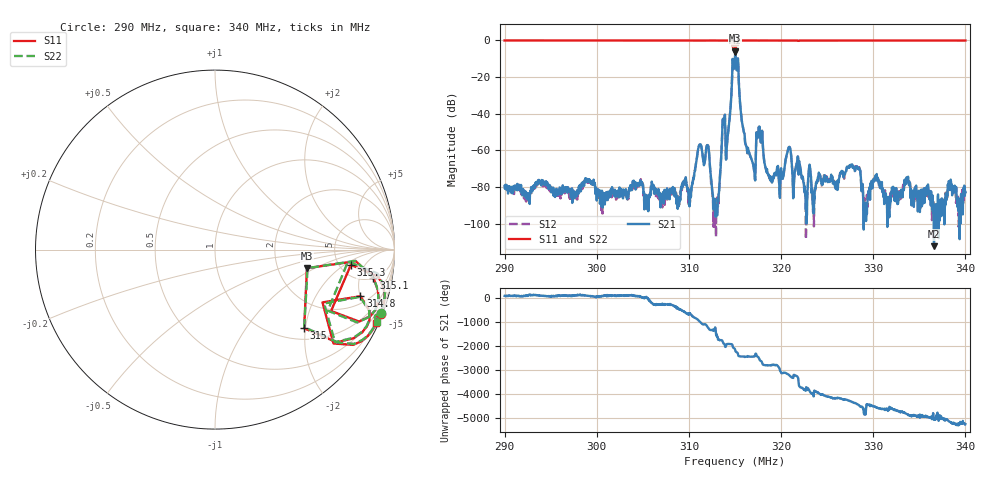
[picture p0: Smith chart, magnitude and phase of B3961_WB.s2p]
! Matrix data file written by TouchstoneData, EPCOS AG
! FILENAME: "B3961_WB.s2p"
! COMMENT: "(LU38B_MB.s2p) EPCOS AG 02.07.2010 10:45:05"
! INFO: nport=2, nfreq=1601
! DATE: "Wed Feb  1 14:30:13 2012"
! USER: "Wilfried Schott"
! port | pin | signal
!  1  |  1  |  IN
!  2  |  3  |  OUT
# MHZ S MA R 50
! freq  magS11 angS11  magS21 angS21  magS12 angS12  magS22 angS22
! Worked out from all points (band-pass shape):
!   1601 points, 290 MHz to 340 MHz, reference 50 ohm
!   highest |S21| = -6.46 dB at 315 MHz (marker M1); lowest = -112.2 dB at 336.6 MHz (marker M2)
!   |S21| within 3 dB of the highest: 314.9815 MHz to 315.0652 MHz (83.65 kHz wide, 0.0266 % of centre)
!   lowest |S11| = -5.6 dB at 315 MHz (marker M3), VSWR 3.19, Z = 146 - j41.7 ohm
!   |S11| at or under -10 dB: nowhere
!   |S22| runs from -5.6 to -0.1 dB; largest |S21 - S12| = 0.0043
!   S11 on the Smith chart (normalised r, x): 290 MHz: 0.12, -5.37; 314.8 MHz: 2.66, -5.02; 315 MHz: 1.26, -1.97; 315.1 MHz: 5.00, -8.16; 315.3 MHz: 6.34, -2.57; 340 MHz: 0.14, -4.60
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290  0.9918 -21.1  0.0001079 70.0  9.852e-05 69.1  0.989 -20.8
298.3438  0.9911 -21.8  0.0001004 102.8  0.0001051 103.0  0.9898 -21.5
306.6875  0.9904 -22.5  8.905e-05 66.5  4.635e-05 74.9  0.9891 -22.2
310.125  0.9895 -23.0  7.42e-05 66.7  3.863e-05 42.5  0.9876 -22.7
311.1875  0.9864 -23.1  0.001438 77.1  0.001406 77.1  0.985 -22.8
313.0938  0.9897 -23.9  2.256e-05 -178.3  2.823e-05 174.3  0.9884 -23.5
313.7188  0.9866 -24.3  0.006007 -94.0  0.00599 -94.1  0.9853 -24.0
314.25  0.9877 -25.7  0.003012 -123.2  0.00302 -124.2  0.9865 -25.3
314.7812  0.8509 -17.8  0.248 95.6  0.2484 95.2  0.8498 -18.0
315  0.6624 -41.4  0.4187 9.5  0.4192 9.9  0.6585 -41.0
315.0312  0.5225 -11.4  0.4752 -35.0  0.4795 -35.0  0.5263 -11.3
315.0938  0.8972 -10.2  0.2452 -87.8  0.2448 -87.7  0.897 -10.1
315.3438  0.7619 -6.4  0.2765 135.5  0.2785 135.2  0.7438 -5.2
315.9688  0.9901 -20.5  0.003111 70.3  0.003097 69.8  0.989 -20.1
316.9688  0.9903 -21.9  0.000418 71.6  0.0004288 67.3  0.989 -21.6
317.7188  0.9887 -22.1  0.002422 -88.6  0.002405 -89.7  0.9877 -21.8
318.8125  0.9893 -22.6  0.000166 67.6  0.0001567 70.1  0.9882 -22.3
320.8438  0.9836 -23.1  0.001234 33.1  0.001209 33.6  0.9818 -22.8
323.3438  0.9889 -23.0  9.096e-05 -0.2  9.163e-05 -8.8  0.9876 -22.7
331.6875  0.9884 -23.8  2.816e-05 73.9  2.256e-05 96.1  0.9878 -23.5
336.5938  0.9893 -24.2  2.458e-06 -22.8  2.533e-05 -18.4  0.9877 -23.9
340  0.9874 -24.5  7.216e-05 155.1  8.573e-05 161.5  0.9864 -24.1
